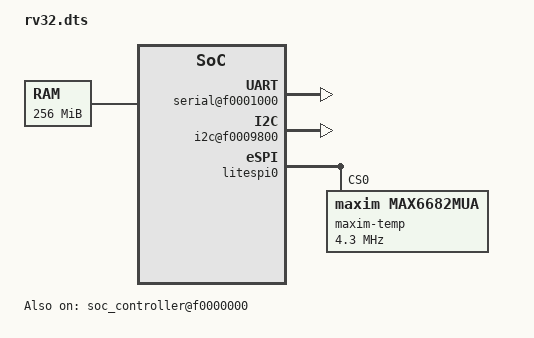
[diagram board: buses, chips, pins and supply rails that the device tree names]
/dts-v1/;

/ {
	#address-cells = <0x01>;
	#size-cells = <0x01>;

	chosen {
		bootargs = "mem=256M@0x40000000 rootwait console=liteuart earlycon=sbi root=/dev/ram0 init=/sbin/init swiotlb=32";
		linux,initrd-start = <0x42000000>;
		linux,initrd-end = <0x45000000>;
	};

	cpus {
		#address-cells = <0x01>;
		#size-cells = <0x00>;
		timebase-frequency = <0x5f5e100>;

		cpu@0 {
			device_type = "cpu";
			compatible = "riscv";
			riscv,isa = "rv32ima";
			mmu-type = "riscv,sv32";
			reg = <0x00>;
			status = "okay";

			interrupt-controller {
				#interrupt-cells = <0x01>;
				interrupt-controller;
				compatible = "riscv,cpu-intc";
				phandle = <0x01>;
			};
		};
	};

	memory@40000000 {
		device_type = "memory";
		reg = <0x40000000 0x10000000>;
	};

	reserved-memory {
		#address-cells = <0x01>;
		#size-cells = <0x01>;
		ranges;

		opensbi@40f00000 {
			reg = <0x40f00000 0x80000>;
		};
	};

	soc {
		#address-cells = <0x01>;
		#size-cells = <0x01>;
		bus-frequency = <0x5f5e100>;
		compatible = "simple-bus";
		ranges;

		soc_controller@f0000000 {
			compatible = "litex,soc_controller";
			reg = <0xf0000000 0x0c>;
			status = "okay";
		};

		plic: interrupt-controller@f0c00000 {
			compatible = "sifive,plic-1.0.0\0sifive,fu540-c000-plic";
			reg = <0xf0c00000 0x400000>;
			#interrupt-cells = <0x01>;
			interrupt-controller;
			interrupts-extended = <0x01 0x0b 0x01 0x09>;
			riscv,ndev = <0x32>;
			phandle = <0x02>;
		};

		serial@f0001000 {
			device_type = "serial";
			compatible = "litex,liteuart";
			reg = <0xf0001000 0x100>;
			status = "okay";
		};

		i2c@f0009800 {
			compatible = "litex,i2c";
			reg = <0xf0009800 0x10>;
			#address-cells = <0x01>;
			#size-cells = <0x00>;
		};

		virtio@100d0000 {
			compatible = "virtio,mmio";
			reg = <0x100d0000 0x150>;
			interrupt-parent = <0x02>;
			interrupts = <0x1e>;
		};

		litespi0: spi@f0007000 {
			#address-cells = <1>;
			#size-cells = <0>;
			compatible = "litex,litespi";
			reg = <0xf0007000 0x100>;
			litespi,max-bpw = <8>;
			litespi,sck-frequency = <1000000>;
			litespi,num-cs = <1>;
			
			maxim-temp@0 {
				compatible = "maxim,max6682mua";
				reg = <0>;
				spi-max-frequency = <4300000>;
			};
		};
	};

	aliases {
		serial0 = "/soc/serial@f0001000";
	};
};
